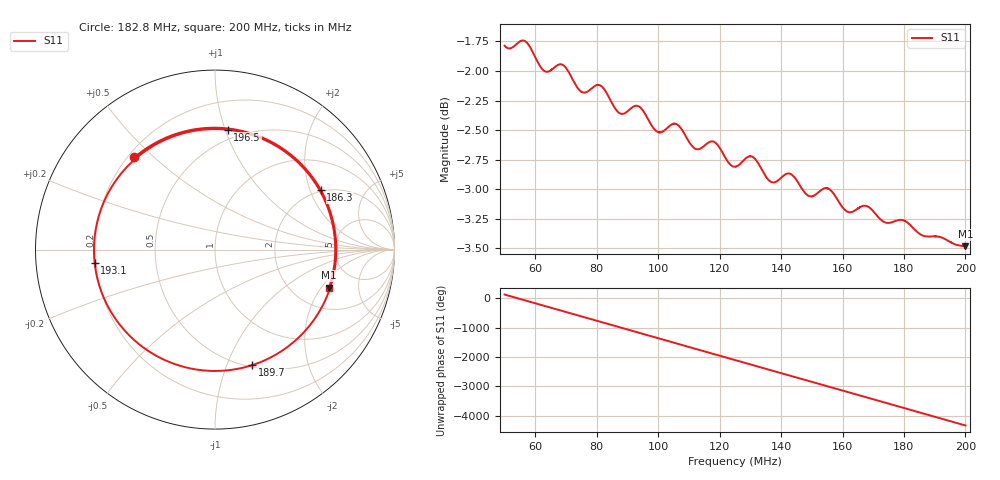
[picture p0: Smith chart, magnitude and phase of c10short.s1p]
! COPPER MOUNTAIN TECHNOLOGIES, PLANAR TR1300/1, 00071119, 20.2.2/1.0
! Date: 1/9/2024 7:33:01 PM
! Data: Format [Calibration Info]
! Freq  S11: Re/Im F1
# HZ S RI R 50
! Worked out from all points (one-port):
!   12288 points, 50 MHz to 200 MHz, reference 50 ohm
!   lowest |S11| = -3.5 dB at 200 MHz (marker M1), VSWR 5.06, Z = 155 - j119 ohm
!   |S11| at or under -10 dB: nowhere
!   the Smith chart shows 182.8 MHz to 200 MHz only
!   S11 on the Smith chart (normalised r, x): 182.8 MHz: 0.23, +0.43; 186.3 MHz: 1.93, +2.38; 189.7 MHz: 0.52, -1.24; 193.1 MHz: 0.19, -0.05; 196.5 MHz: 0.42, +1.02; 200 MHz: 3.11, -2.38
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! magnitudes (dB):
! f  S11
! 50 MHz  -1.8
! 56.71 MHz  -1.7
! 63.33 MHz  -2.0
! 68.75 MHz  -1.9
! 75.06 MHz  -2.2
! 81.63 MHz  -2.1
! 87.5 MHz  -2.4
! 93.57 MHz  -2.3
! 100.2 MHz  -2.5
! 106.3 MHz  -2.5
! 111.7 MHz  -2.7
! 118.2 MHz  -2.6
! 125 MHz  -2.8
! 130.2 MHz  -2.7
! 136.8 MHz  -2.9
! 143.8 MHz  -2.9
! 148.7 MHz  -3.1
! 155.3 MHz  -3.0
! 162.5 MHz  -3.2
! 167.6 MHz  -3.1
! 181.3 MHz  -3.3
! 182.8 MHz  -3.3
! 186.3 MHz  -3.4
! 189.7 MHz  -3.4
! 193.1 MHz  -3.4
! 196.5 MHz  -3.5
! 200 MHz  -3.5
! 200 MHz  -3.5
